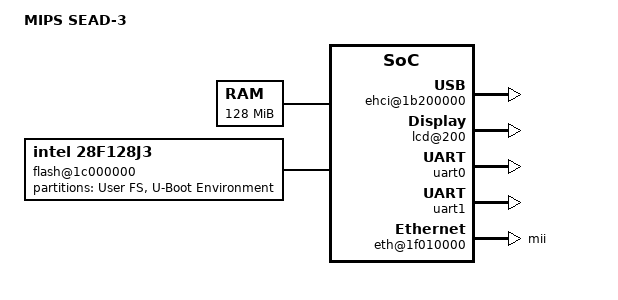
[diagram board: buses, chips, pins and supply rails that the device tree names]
/dts-v1/;

/ {
	#address-cells = <1>;
	#size-cells = <1>;
	compatible = "mti,sead-3";
	model = "MIPS SEAD-3";

	chosen {
		stdout-path = "serial1:115200";
	};

	aliases {
		serial0 = &uart0;
		serial1 = &uart1;
	};

	memory {
		device_type = "memory";
		reg = <0x0 0x08000000>;
	};

	ehci@1b200000 {
		compatible = "generic-ehci";
		reg = <0x1b200100 0xf00>;

		has-transaction-translator;
	};

	flash@1c000000 {
		compatible = "intel,28f128j3", "cfi-flash";
		reg = <0x1c000000 0x2000000>;
		#address-cells = <1>;
		#size-cells = <1>;
		bank-width = <4>;

		u-boot,dm-pre-reloc;

		partitions {
			compatible = "fixed-partitions";
			#address-cells = <1>;
			#size-cells = <1>;

			user-fs@0 {
				label = "User FS";
				reg = <0x0 0x1fc0000>;
			};

			env@1fc0000 {
				label = "U-Boot Environment";
				reg = <0x1fc0000 0x40000>;
			};
		};
	};

	fpga_regs: system-controller@1f000000 {
		compatible = "mti,sead3-fpga", "syscon", "simple-mfd";
		reg = <0x1f000000 0x200>;

		reboot {
			compatible = "syscon-reboot";
			regmap = <&fpga_regs>;
			offset = <0x50>;
			mask = <0x4d>;
		};

		poweroff {
			compatible = "restart-poweroff";
		};
	};

	system-controller@1f000200 {
		compatible = "mti,sead3-cpld", "syscon", "simple-mfd";
		reg = <0x1f000200 0x300>;

		lcd@200 {
			compatible = "mti,sead3-lcd";
			offset = <0x200>;
		};
	};

	/* UART connected to FTDI & miniUSB socket */
	uart0: uart@1f000900 {
		compatible = "ns16550a";
		reg = <0x1f000900 0x20>;
		reg-io-width = <4>;
		reg-shift = <2>;

		clock-frequency = <14745600>;

		no-loopback-test;

		u-boot,dm-pre-reloc;
	};

	/* UART connected to RS232 socket */
	uart1: uart@1f000800 {
		compatible = "ns16550a";
		reg = <0x1f000800 0x20>;
		reg-io-width = <4>;
		reg-shift = <2>;

		clock-frequency = <14745600>;

		no-loopback-test;

		u-boot,dm-pre-reloc;
	};

	eth@1f010000 {
		compatible = "smsc,lan9115";
		reg = <0x1f010000 0x10000>;
		reg-io-width = <4>;

		phy-mode = "mii";
		smsc,irq-push-pull;
		smsc,save-mac-address;
	};
};
